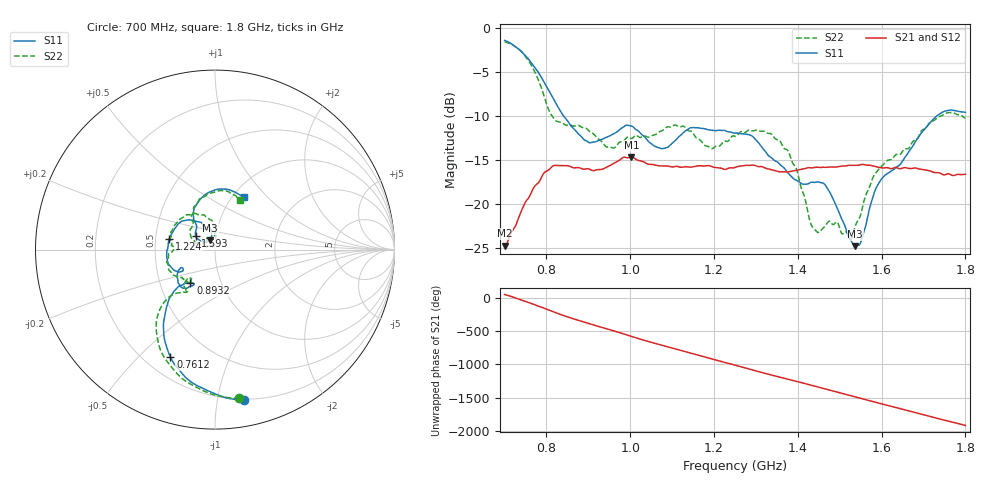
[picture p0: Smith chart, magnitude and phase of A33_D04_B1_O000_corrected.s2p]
! Created with skrf 1.9.0 (http://scikit-rf.org).
# Hz S RI R 50.0
!freq ReS11 ImS11 ReS21 ImS21 ReS12 ImS12 ReS22 ImS22
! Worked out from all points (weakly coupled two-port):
!   1601 points, 700 MHz to 1.8 GHz, reference 50 ohm
!   highest |S21| = -14.65 dB at 1.002 GHz (marker M1); lowest = -24.7 dB at 700 MHz (marker M2)
!   lowest |S11| = -24.8 dB at 1.537 GHz (marker M3), VSWR 1.12, Z = 47.2 + j4.85 ohm
!   |S11| at or under -10 dB: 841.2 MHz to 1.731 GHz (889.9 MHz wide, 69.2 % of centre)
!   |S22| runs from -24.0 to -1.5 dB; largest |S21 - S12| = 0.0033
!   S11 on the Smith chart (normalised r, x): 700 MHz: 0.19, -1.19; 761.2 MHz: 0.30, -0.62; 893.2 MHz: 0.71, -0.28; 1.224 GHz: 0.59, +0.07; 1.593 GHz: 0.80, +0.12; 1.8 GHz: 1.13, +0.74
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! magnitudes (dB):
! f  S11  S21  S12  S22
! 700 MHz  -1.4  -24.7  -24.5  -1.5
! 761.2 MHz  -3.8  -19.0  -18.9  -4.0
! 817.6 MHz  -8.1  -15.6  -15.7  -10.3
! 883.6 MHz  -12.4  -16.0  -15.9  -11.2
! 893.2 MHz  -12.8  -16.0  -16.1  -11.4
! 946.1 MHz  -12.4  -15.8  -15.8  -13.5
! 1.002 GHz  -11.1  -14.7  -14.8  -12.5
! 1.067 GHz  -13.6  -15.6  -15.6  -11.9
! 1.145 GHz  -11.3  -15.8  -15.8  -11.7
! 1.224 GHz  -11.6  -16.1  -16.0  -12.9
! 1.25 GHz  -11.9  -15.8  -15.8  -12.3
! 1.357 GHz  -15.5  -16.3  -16.3  -12.8
! 1.396 GHz  -17.3  -16.2  -16.2  -16.0
! 1.434 GHz  -17.5  -15.9  -15.8  -22.5
! 1.468 GHz  -18.0  -15.8  -15.8  -22.3
! 1.525 GHz  -24.0  -15.6  -15.6  -24.0
! 1.537 GHz  -24.8  -15.6  -15.6  -22.6
! 1.551 GHz  -24.2  -15.5  -15.5  -21.0
! 1.593 GHz  -17.7  -15.8  -15.8  -16.1
! 1.617 GHz  -16.4  -15.9  -15.9  -15.0
! 1.733 GHz  -9.9  -16.4  -16.4  -10.2
! 1.8 GHz  -9.6  -16.6  -16.6  -10.2
